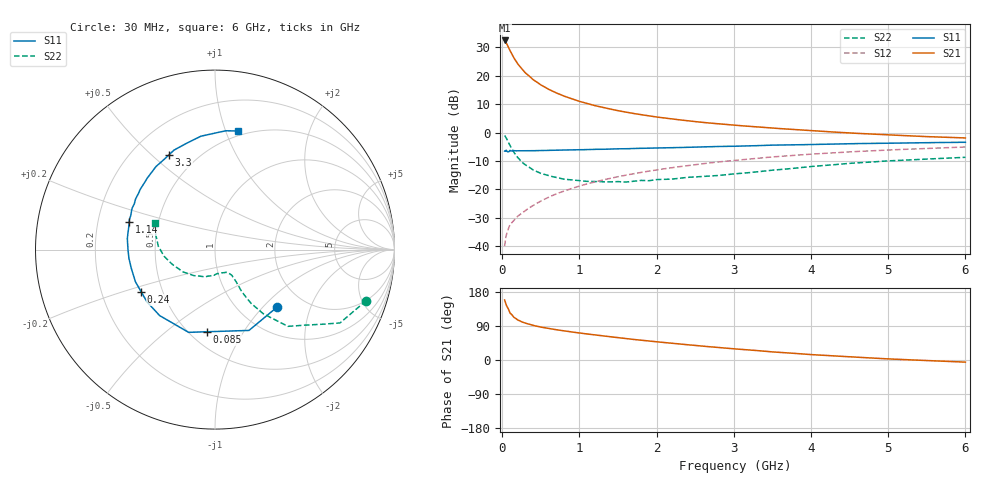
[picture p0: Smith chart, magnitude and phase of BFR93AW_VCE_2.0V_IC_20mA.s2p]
! Infineon Technologies  Discrete & RF Semiconductors
! BFR93AW
! VCE =  2.0 V,  IC =  20 mA
! Common Emitter S-Parameters:  Nov 2015
# GHz  S  MA  R  50
!  f  S11  S21  S12  S22
! GHz  MAG  ANG  MAG  ANG  MAG  ANG  MAG  ANG
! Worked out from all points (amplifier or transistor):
!   206 points, 30 MHz to 6 GHz, reference 50 ohm
!   highest |S21| = 32.5 dB at 30 MHz (marker M1)
!   |S21| within 3 dB of that: start of sweep to 89.21 MHz
!   unconditionally stable (mu >= 1): 524.6 MHz to 2.384 GHz
!   at 200 MHz: K = 0.72, MSG = 26.9 dB, |S12| = -29.5 dB
!   at 1.56 GHz: K = 1.05, MAG = 9.9 dB, |S12| = -15.3 dB
!   at 6 GHz: K = 0.94, MSG = 1.6 dB, |S12| = -5.1 dB
!   S11 on the Smith chart (normalised r, x): 30 MHz: 1.46, -1.21; 85 MHz: 0.60, -0.70; 240 MHz: 0.38, -0.23; 1.14 GHz: 0.34, +0.14; 3.3 GHz: 0.35, +0.57; 6 GHz: 0.46, +1.10
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0.03  0.4714 -42.9  42.07 158.4  0.0099 72.7  0.8886 -18.7
0.05  0.4885 -67.2  38.53 144.7  0.0152 68.9  0.8076 -30.4
0.085  0.4601 -95.8  30.6 131.7  0.0211 62.3  0.6488 -40.5
0.1  0.4839 -107.7  27.87 124.0  0.0237 60.5  0.5894 -46.5
0.15  0.4799 -130.0  20.68 112.7  0.0281 56.5  0.4475 -53.0
0.2  0.478 -142.4  16.28 105.6  0.0334 57.9  0.3621 -56.1
0.24  0.474 -150.1  13.89 101.8  0.0367 59.9  0.3155 -56.9
0.3  0.4781 -158.1  11.24 96.9  0.0423 61.7  0.2685 -57.5
0.4  0.478 -167.7  8.546 91.2  0.0517 64.3  0.219 -56.7
0.5  0.482 -174.2  6.912 86.8  0.0618 66.5  0.19 -56.8
0.6  0.4843 -179.0  5.787 83.2  0.0722 67.9  0.1728 -56.6
0.7  0.4876 176.5  5.002 79.9  0.0828 68.5  0.1614 -57.9
0.88  0.4935 170.0  4.013 74.6  0.1008 68.8  0.1472 -61.2
1.04  0.4973 165.0  3.422 70.2  0.1181 68.5  0.1398 -65.4
1.14  0.5026 162.2  3.136 67.7  0.1284 68.3  0.1373 -69.1
1.52  0.5162 152.7  2.399 58.5  0.1684 66.2  0.1357 -81.2
2.02  0.5351 140.9  1.863 47.6  0.2212 62.3  0.1483 -99.2
3.1  0.5766 119.6  1.317 28.0  0.3313 51.8  0.1909 -132.3
3.3  0.5869 115.9  1.256 24.9  0.3511 49.6  0.2026 -139.0
4.1  0.6182 102.9  1.058 13.2  0.4234 40.9  0.2575 -163.4
5.1  0.6506 89.5  0.896 2.1  0.4982 29.9  0.3203 174.3
6  0.6728 79.2  0.803 -5.6  0.5562 20.7  0.3661 155.9
